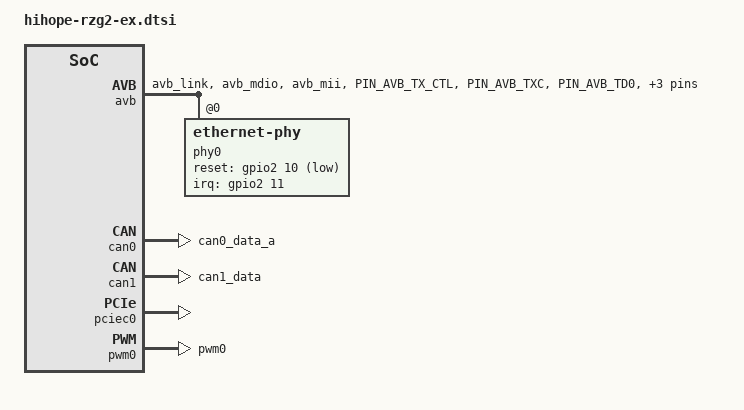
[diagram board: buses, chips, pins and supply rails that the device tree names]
// SPDX-License-Identifier: GPL-2.0
/*
 * Device Tree Source for the RZ/G2[HMN] HiHope sub board common parts
 *
 * Copyright (C) 2019 Renesas Electronics Corp.
 */

/ {
	aliases {
		ethernet0 = &avb;
	};

	chosen {
		bootargs = "ignore_loglevel rw root=/dev/nfs ip=on";
	};
};

&avb {
	pinctrl-0 = <&avb_pins>;
	pinctrl-names = "default";
	phy-handle = <&phy0>;
	tx-internal-delay-ps = <2000>;
	rx-internal-delay-ps = <1800>;
	status = "okay";

	phy0: ethernet-phy@0 {
		reg = <0>;
		interrupt-parent = <&gpio2>;
		interrupts = <11 IRQ_TYPE_LEVEL_LOW>;
		reset-gpios = <&gpio2 10 GPIO_ACTIVE_LOW>;
	};
};

&can0 {
	pinctrl-0 = <&can0_pins>;
	pinctrl-names = "default";
	status = "okay";
};

&can1 {
	pinctrl-0 = <&can1_pins>;
	pinctrl-names = "default";
	status = "okay";
};

&pciec0 {
	status = "okay";
};

&pfc {
	pinctrl-0 = <&scif_clk_pins>;
	pinctrl-names = "default";

	avb_pins: avb {
		mux {
			groups = "avb_link", "avb_mdio", "avb_mii";
			function = "avb";
		};

		pins_mdio {
			groups = "avb_mdio";
			drive-strength = <24>;
		};

		pins_mii_tx {
			pins = "PIN_AVB_TX_CTL", "PIN_AVB_TXC", "PIN_AVB_TD0",
			       "PIN_AVB_TD1", "PIN_AVB_TD2", "PIN_AVB_TD3";
			drive-strength = <12>;
		};
	};

	can0_pins: can0 {
		groups = "can0_data_a";
		function = "can0";
	};

	can1_pins: can1 {
		groups = "can1_data";
		function = "can1";
	};

	pwm0_pins: pwm0 {
		groups = "pwm0";
		function = "pwm0";
	};
};

&pwm0 {
	pinctrl-0 = <&pwm0_pins>;
	pinctrl-names = "default";

	status = "okay";
};
